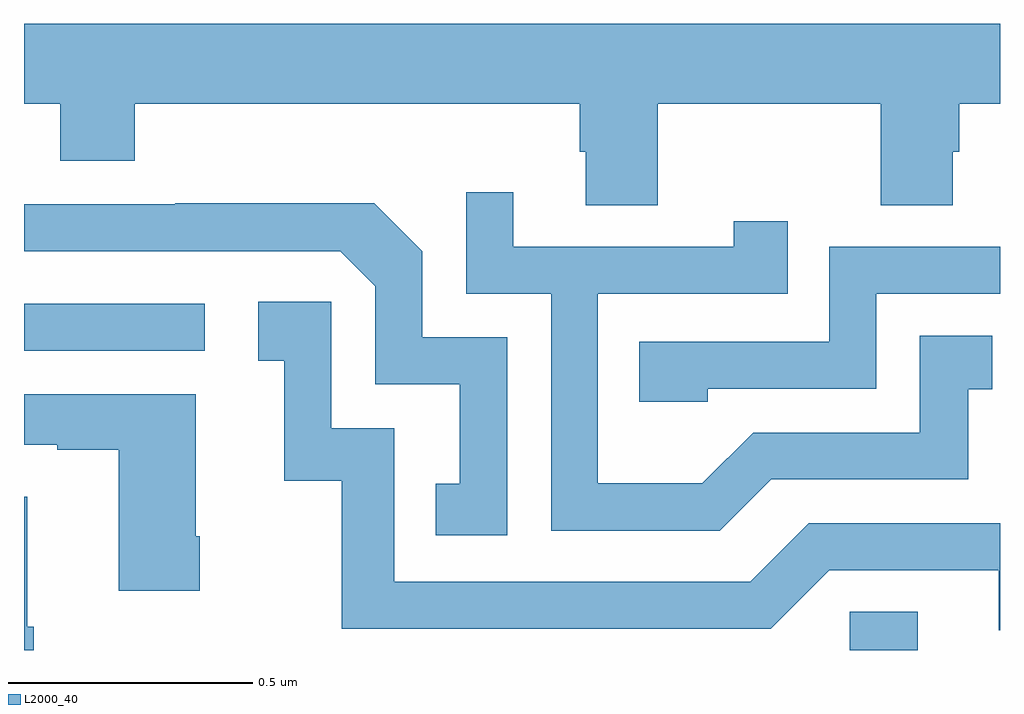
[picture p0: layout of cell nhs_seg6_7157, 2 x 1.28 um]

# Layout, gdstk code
import gdstk
lib = gdstk.Library(unit=1e-6, precision=1e-09)
def R(c, l, rs):  # rectangles x0, y0, x1, y1
    for r in rs: c.add(gdstk.rectangle(r[:2], r[2:], *l))
def P(c, l, *ps):  # polygons
    for p in ps: c.add(gdstk.Polygon(p, *l))
L2000_40 = (2000, 40)

nhs_seg6_7157 = lib.new_cell('nhs_seg6_7157')
R(nhs_seg6_7157, L2000_40, [(205.692,995.5,205.831,995.579), (204,996.114,204.37,996.21)])
P(nhs_seg6_7157, L2000_40, [(205.299,996.62),(205.756,996.62),(205.756,996.412),(205.903,996.412),(205.903,996.522),(205.916,996.522),(205.916,996.62),(206,996.62),(206,996.784),(204,996.784),(204,996.62),(204.074,996.62),(204.074,996.503),(204.227,996.503),(204.227,996.62),(205.139,996.62),(205.139,996.522),(205.151,996.522),(205.151,996.412),(205.299,996.412)],
  [(205.531,995.85),(205.935,995.85),(205.935,996.035),(205.984,996.035),(205.984,996.145),(205.836,996.145),(205.836,995.946),(205.494,995.946),(205.39,995.842),(205.176,995.842),(205.176,996.231),(205.565,996.231),(205.565,996.379),(205.454,996.379),(205.454,996.327),(205.003,996.327),(205.003,996.439),(204.906,996.439),(204.906,996.231),(205.08,996.231),(205.08,995.745),(205.426,995.745)],
  [(204.99,996.141),(204.816,996.141),(204.816,996.318),(204.718,996.416),(204.31,996.416),(204.31,996.414),(204,996.414),(204,996.318),(204.648,996.318),(204.72,996.246),(204.72,996.045),(204.893,996.045),(204.893,995.841),(204.844,995.841),(204.844,995.736),(204.99,995.736)],
  [(205.401,996.036),(205.746,996.036),(205.746,996.231),(206,996.231),(206,996.327),(205.65,996.327),(205.65,996.132),(205.261,996.132),(205.261,996.009),(205.401,996.009)],
  [(206,995.76),(205.608,995.76),(205.488,995.64),(204.759,995.64),(204.759,995.955),(204.63,995.955),(204.63,996.214),(204.48,996.214),(204.48,996.093),(204.533,996.093),(204.533,995.847),(204.651,995.847),(204.651,995.544),(205.53,995.544),(205.65,995.664),(205.997,995.664),(205.997,995.541),(206,995.541)],
  [(204.36,995.734),(204.352,995.734),(204.352,996.025),(204,996.025),(204,995.921),(204.068,995.921),(204.068,995.911),(204.194,995.911),(204.194,995.622),(204.36,995.622)],
  [(204.02,995.548),(204.007,995.548),(204.007,995.815),(204,995.815),(204,995.5),(204.02,995.5)])

lib.write_gds('nhs_seg6_7157.gds')
